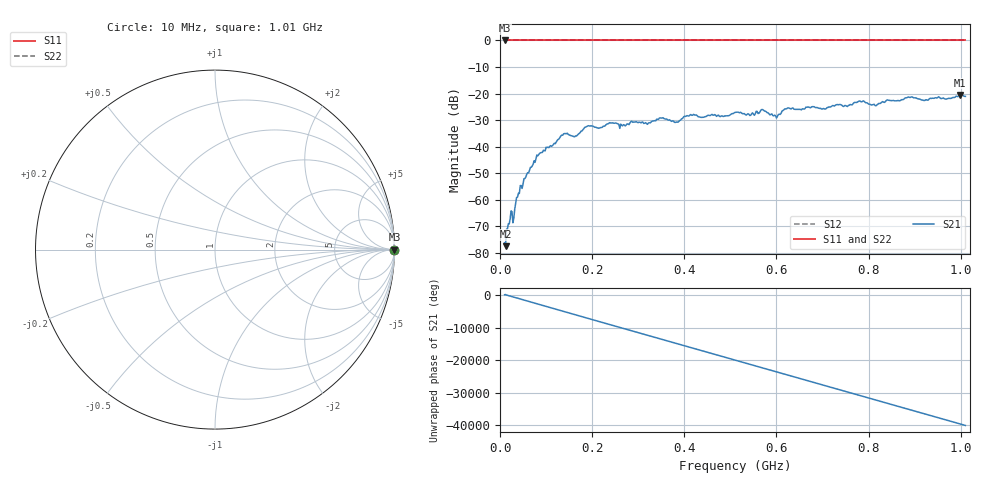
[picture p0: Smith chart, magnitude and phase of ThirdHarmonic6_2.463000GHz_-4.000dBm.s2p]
! 8/17/2025 4:28:40 AM
! C:\ANRITSUVNA\TEMP\TEMP.S2P
! CHANNEL.1
! TR.MEASUREMENT
! RAW.DATA
! RF.CORRECTION.OFF
! AVERAGING.OFF
! IF.BANDWIDTH: 5KHZ
! SWEEPTYPE:  FREQ.SWEEP(Linear)
! Reference Plane Port Info
! PORT:  PORT1  PORT2
! DISTANCE:  0  m  0  m
! TIME:  0  s  0  s
! PHASE.OFFSET:  0  deg.  0  deg.
! LOSS:  0  dB  0  dB
! REF.LOSS:  0  dB  0  dB
! REF.FREQ:  0  Hz  0  Hz
! Power Info
! POWER:  -20  dBm  -20  dBm
! EFF.POWER:  -20  dBm  -20  dBm
! SOURCE.ATTEN:  0  dB  0  dB
! TEST.ATTEN:  0  dB  0  dB
# GHZ S RI R 50.0
! FREQ.GHZ  S11RE  S11IM  S21RE  S21IM  S12RE  S12IM  S22RE  S22IM
!; PortSelection: Port_12
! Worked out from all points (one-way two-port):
!   501 points, 10 MHz to 1.01 GHz, reference 50 ohm
!   highest |S21| = -20.49 dB at 998 MHz (marker M1); lowest = -77.5 dB at 12 MHz (marker M2)
!   lowest |S11| = 0.0 dB at 10 MHz (marker M3)
!   |S11| at or under -10 dB: nowhere
!   |S22| runs from 0.0 to 0.0 dB; largest |S21 - S12| = 1.1
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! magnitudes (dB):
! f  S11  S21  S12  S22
! 10 MHz  0.0  -76.2  0.0  0.0
! 12 MHz  0.0  -77.5  0.0  0.0
! 22 MHz  0.0  -67.2  0.0  0.0
! 30 MHz  0.0  -66.9  0.0  0.0
! 42 MHz  0.0  -57.7  0.0  0.0
! 82 MHz  0.0  -43.5  0.0  0.0
! 136 MHz  0.0  -35.7  0.0  0.0
! 164 MHz  0.0  -35.9  0.0  0.0
! 178 MHz  0.0  -34.1  0.0  0.0
! 194 MHz  0.0  -32.2  0.0  0.0
! 322 MHz  0.0  -31.1  0.0  0.0
! 344 MHz  0.0  -29.7  0.0  0.0
! 382 MHz  0.0  -30.8  0.0  0.0
! 416 MHz  0.0  -28.2  0.0  0.0
! 510 MHz  0.0  -27.1  0.0  0.0
! 570 MHz  0.0  -26.0  0.0  0.0
! 598 MHz  0.0  -28.4  0.0  0.0
! 622 MHz  0.0  -25.8  0.0  0.0
! 678 MHz  0.0  -24.9  0.0  0.0
! 844 MHz  0.0  -22.6  0.0  0.0
! 998 MHz  0.0  -20.5  0.0  0.0
! 1.01 GHz  0.0  -21.1  0.0  0.0
